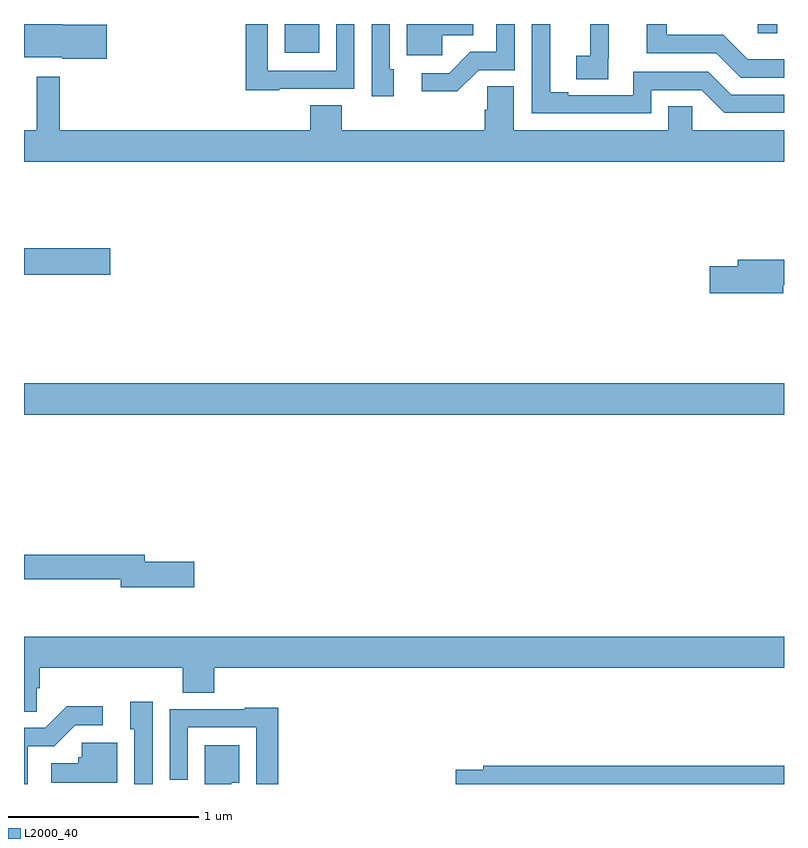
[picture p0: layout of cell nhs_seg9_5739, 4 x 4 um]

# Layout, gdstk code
import gdstk
lib = gdstk.Library(unit=1e-6, precision=1e-09)
def R(c, l, rs):  # rectangles x0, y0, x1, y1
    for r in rs: c.add(gdstk.rectangle(r[:2], r[2:], *l))
def P(c, l, *ps):  # polygons
    for p in ps: c.add(gdstk.Polygon(p, *l))
L2000_40 = (2000, 40)

nhs_seg9_5739 = lib.new_cell('nhs_seg9_5739')
R(nhs_seg9_5739, L2000_40, [(445,1172.444,449,1172.608), (445,1173.179,445.453,1173.321), (446.372,1174.349,446.554,1174.5), (448.863,1174.452,448.964,1174.5)])
P(nhs_seg9_5739, L2000_40, [(447.201,1174.442),(447.364,1174.442),(447.364,1174.5),(447.014,1174.5),(447.014,1174.335),(447.201,1174.335)],
  [(445.435,1174.496),(445.204,1174.496),(445.204,1174.5),(445,1174.5),(445,1174.325),(445.2,1174.325),(445.2,1174.318),(445.435,1174.318)],
  [(447.393,1174.257),(447.582,1174.257),(447.582,1174.5),(447.486,1174.5),(447.486,1174.353),(447.348,1174.353),(447.237,1174.242),(447.093,1174.242),(447.093,1174.145),(447.28,1174.145)],
  [(446.343,1174.158),(446.739,1174.158),(446.739,1174.5),(446.643,1174.5),(446.643,1174.254),(446.283,1174.254),(446.283,1174.5),(446.167,1174.5),(446.167,1174.151),(446.343,1174.151)],
  [(449,1174.315),(448.808,1174.315),(448.68,1174.443),(448.384,1174.443),(448.384,1174.5),(448.277,1174.5),(448.277,1174.347),(448.644,1174.347),(448.773,1174.218),(449,1174.218)],
  [(448.076,1174.321),(448.078,1174.321),(448.078,1174.5),(447.98,1174.5),(447.98,1174.332),(447.906,1174.332),(447.906,1174.21),(448.076,1174.21)],
  [(448.302,1174.152),(448.566,1174.152),(448.686,1174.032),(449,1174.032),(449,1174.128),(448.722,1174.128),(448.602,1174.248),(448.206,1174.248),(448.206,1174.125),(447.865,1174.125),(447.865,1174.14),(447.769,1174.14),(447.769,1174.5),(447.672,1174.5),(447.672,1174.029),(448.302,1174.029)],
  [(446.947,1174.263),(446.925,1174.263),(446.925,1174.5),(446.829,1174.5),(446.829,1174.119),(446.947,1174.119)],
  [(447.438,1174.172),(447.438,1174.049),(447.425,1174.049),(447.425,1173.94),(446.672,1173.94),(446.672,1174.073),(446.507,1174.073),(446.507,1173.94),(445.189,1173.94),(445.189,1174.222),(445.067,1174.222),(445.067,1173.94),(445,1173.94),(445,1173.776),(449,1173.776),(449,1173.94),(448.518,1173.94),(448.518,1174.067),(448.391,1174.067),(448.391,1173.94),(447.577,1173.94),(447.577,1174.172)],
  [(448.996,1173.124),(449,1173.124),(449,1173.26),(448.757,1173.26),(448.757,1173.224),(448.608,1173.224),(448.608,1173.082),(448.996,1173.082)],
  [(445.897,1171.67),(445.636,1171.67),(445.636,1171.706),(445,1171.706),(445,1171.578),(445.508,1171.578),(445.508,1171.535),(445.897,1171.535)],
  [(445.068,1171.003),(445.082,1171.003),(445.082,1171.112),(445.835,1171.112),(445.835,1170.979),(446,1170.979),(446,1171.112),(449,1171.112),(449,1171.276),(445,1171.276),(445,1170.88),(445.068,1170.88)],
  [(445.677,1170.934),(445.559,1170.934),(445.559,1170.789),(445.581,1170.789),(445.581,1170.5),(445.677,1170.5)],
  [(445.02,1170.699),(445.158,1170.699),(445.269,1170.81),(445.414,1170.81),(445.414,1170.908),(445.226,1170.908),(445.113,1170.795),(445,1170.795),(445,1170.5),(445.02,1170.5)],
  [(446.339,1170.901),(446.163,1170.901),(446.163,1170.894),(445.767,1170.894),(445.767,1170.522),(445.863,1170.522),(445.863,1170.798),(446.223,1170.798),(446.223,1170.5),(446.339,1170.5)],
  [(445.492,1170.717),(445.305,1170.717),(445.305,1170.642),(445.286,1170.642),(445.286,1170.61),(445.143,1170.61),(445.143,1170.506),(445.492,1170.506)],
  [(446.092,1170.506),(446.134,1170.506),(446.134,1170.703),(445.952,1170.703),(445.952,1170.5),(446.092,1170.5)],
  [(449,1170.596),(447.418,1170.596),(447.418,1170.576),(447.272,1170.576),(447.272,1170.5),(449,1170.5)])

lib.write_gds('nhs_seg9_5739.gds')
